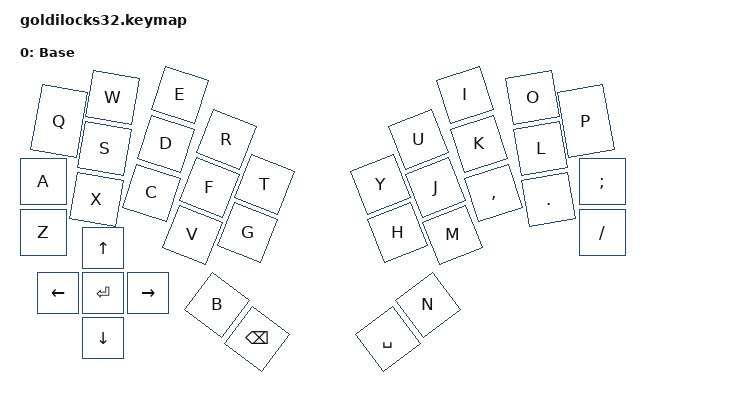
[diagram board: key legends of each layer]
#include <behaviors.dtsi>
#include <dt-bindings/zmk/keys.h>


/ {
    keymap {
        compatible = "zmk,keymap";

        default_layer { // Layer 0
            display-name = "Base";
            bindings = <
                &kp Q  &kp W  &kp E  &kp R  &kp T       &kp Y &kp U &kp I     &kp O   &kp P
                &kp A  &kp S  &kp D  &kp F  &kp G       &kp H &kp J &kp K     &kp L   &kp SEMI
                &kp Z  &kp X  &kp C  &kp V  &kp B       &kp N &kp M &kp COMMA &kp DOT &kp SLASH
                              &kp UP &kp LEFT &kp ENTER &kp RIGHT &kp DOWN
                                            &kp BSPC    &kp SPACE
            >;
        };

        // Empty layers for ZMK Studio:
        extra1 {
            status = "reserved";
        };
        extra2 {
            status = "reserved";
        };
        extra3 {
            status = "reserved";
        };
        extra4 {
            status = "reserved";
        };
        extra5 {
            status = "reserved";
        };
     };
};

/ {
    combos {
        compatible = "zmk,combos";

        // Top left (Q) + top right (T) on left half = &studio_unlock
        combo_studio_unlock {
            timeout-ms = <100>;
            key-positions = <0 4>;
            bindings = <&studio_unlock>;
        };

        // Inner corners (T, Y, G, H) = &bootloader
        combo_bootloader {
            timeout-ms = <300>;
            key-positions = <4 5 14 15>;
            bindings = <&bootloader>;
            layers = <0>;
        };
    };
};
